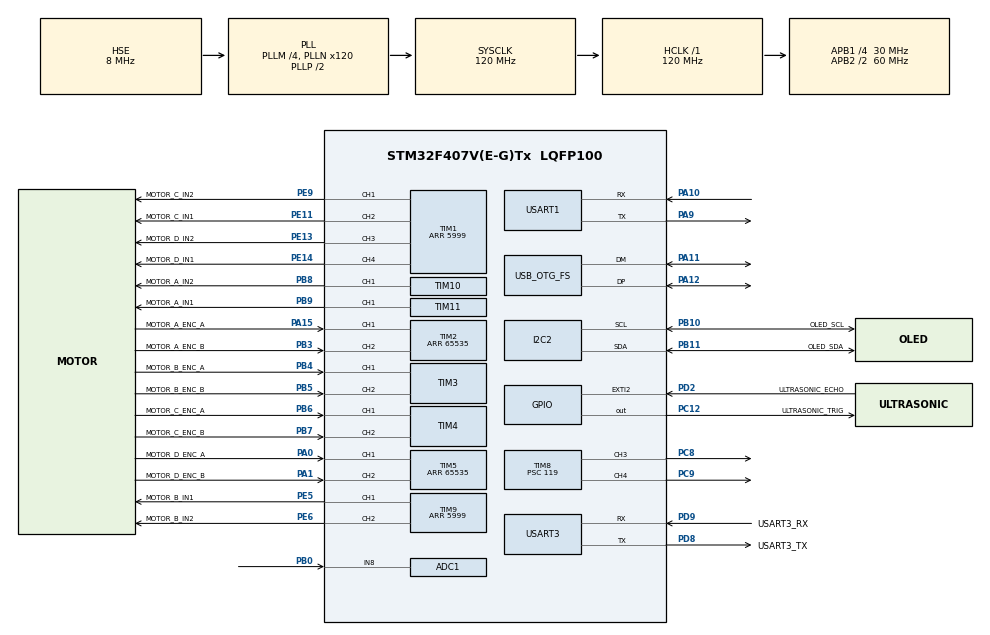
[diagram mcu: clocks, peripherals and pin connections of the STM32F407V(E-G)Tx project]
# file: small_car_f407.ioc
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ADC1.Channel-0\#ChannelRegularConversion=ADC_CHANNEL_8
ADC1.NbrOfConversionFlag=1
ADC1.Rank-0\#ChannelRegularConversion=1
ADC1.SamplingTime-0\#ChannelRegularConversion=ADC_SAMPLETIME_480CYCLES
ADC1.master=1
FREERTOS.Tasks01=defaultTask,24,256,StartDefaultTask,Default,NULL,Dynamic,NULL,NULL
Mcu.Family=STM32F4
Mcu.Name=STM32F407V(E-G)Tx
Mcu.Package=LQFP100
NVIC.EXTI2_IRQn=true\:5\:0\:false\:false\:true\:true\:true\:true\:true
NVIC.OTG_FS_IRQn=true\:5\:0\:false\:false\:true\:true\:false\:true\:true
NVIC.PriorityGroup=NVIC_PRIORITYGROUP_4
NVIC.TIM6_DAC_IRQn=true\:15\:0\:false\:false\:true\:false\:false\:true\:true
NVIC.TimeBase=TIM6_DAC_IRQn
NVIC.TimeBaseIP=TIM6
NVIC.USART3_IRQn=true\:5\:0\:false\:false\:true\:true\:true\:true\:true
PA0-WKUP.GPIO_Label=MOTOR_D_ENC_A
PA0-WKUP.Signal=S_TIM5_CH1
PA1.GPIO_Label=MOTOR_D_ENC_B
PA1.Signal=S_TIM5_CH2
PA10.Mode=Asynchronous
PA10.Signal=USART1_RX
PA11.Mode=Host_Only
PA11.Signal=USB_OTG_FS_DM
PA12.Mode=Host_Only
PA12.Signal=USB_OTG_FS_DP
PA13.Mode=Serial_Wire
PA13.Signal=SYS_JTMS-SWDIO
PA14.Mode=Serial_Wire
PA14.Signal=SYS_JTCK-SWCLK
PA15.GPIO_Label=MOTOR_A_ENC_A
PA15.Signal=S_TIM2_CH1_ETR
PA9.Mode=Asynchronous
PA9.Signal=USART1_TX
PB0.Signal=ADCx_IN8
PB10.GPIO_Label=OLED_SCL
PB10.Mode=I2C
PB10.Signal=I2C2_SCL
PB11.GPIO_Label=OLED_SDA
PB11.Mode=I2C
PB11.Signal=I2C2_SDA
PB3.GPIO_Label=MOTOR_A_ENC_B
PB3.Signal=S_TIM2_CH2
PB4.GPIO_Label=MOTOR_B_ENC_A
PB4.Signal=S_TIM3_CH1
PB5.GPIO_Label=MOTOR_B_ENC_B
PB5.Signal=S_TIM3_CH2
PB6.GPIO_Label=MOTOR_C_ENC_A
PB6.Signal=S_TIM4_CH1
PB7.GPIO_Label=MOTOR_C_ENC_B
PB7.Signal=S_TIM4_CH2
PB8.GPIO_Label=MOTOR_A_IN2
PB8.GPIO_PuPd=GPIO_NOPULL
PB8.Signal=S_TIM10_CH1
PB9.GPIO_Label=MOTOR_A_IN1
PB9.Signal=S_TIM11_CH1
PC12.GPIO_Label=ULTRASONIC_TRIG
PC12.Signal=GPIO_Output
PC8.Signal=S_TIM8_CH3
PC9.Signal=S_TIM8_CH4
PD2.GPIO_Label=ULTRASONIC_ECHO
PD2.GPIO_ModeDefaultEXTI=GPIO_MODE_IT_RISING_FALLING
PD2.Signal=GPXTI2
PD8.GPIO_Label=USART3_TX
PD8.Mode=Asynchronous
PD8.Signal=USART3_TX
PD9.GPIO_Label=USART3_RX
PD9.Mode=Asynchronous
PD9.Signal=USART3_RX
PE11.GPIO_Label=MOTOR_C_IN1
PE11.Signal=S_TIM1_CH2
PE13.GPIO_Label=MOTOR_D_IN2
PE13.Signal=S_TIM1_CH3
PE14.GPIO_Label=MOTOR_D_IN1
PE14.Signal=S_TIM1_CH4
PE5.GPIO_Label=MOTOR_B_IN1
PE5.Signal=S_TIM9_CH1
PE6.GPIO_Label=MOTOR_B_IN2
PE6.Signal=S_TIM9_CH2
PE9.GPIO_Label=MOTOR_C_IN2
PE9.Signal=S_TIM1_CH1
PH0-OSC_IN.Mode=HSE-External-Oscillator
PH0-OSC_IN.Signal=RCC_OSC_IN
PH1-OSC_OUT.Mode=HSE-External-Oscillator
PH1-OSC_OUT.Signal=RCC_OSC_OUT
ProjectManager.HeapSize=0x200
ProjectManager.StackSize=0x400
ProjectManager.TargetToolchain=CMake
RCC.48MHZClocksFreq_Value=48000000
RCC.AHBFreq_Value=120000000
RCC.APB1CLKDivider=RCC_HCLK_DIV4
RCC.APB1Freq_Value=30000000
RCC.APB1TimFreq_Value=60000000
RCC.APB2CLKDivider=RCC_HCLK_DIV2
RCC.APB2Freq_Value=60000000
RCC.APB2TimFreq_Value=120000000
RCC.CortexFreq_Value=120000000
RCC.HCLKFreq_Value=120000000
RCC.HSE_VALUE=8000000
RCC.HSI_VALUE=16000000
RCC.LSE_VALUE=32768
RCC.PLLM=4
RCC.PLLN=120
RCC.PLLQ=5
RCC.SYSCLKFreq_VALUE=120000000
RCC.SYSCLKSource=RCC_SYSCLKSOURCE_PLLCLK
RCC.VCOOutputFreq_Value=240000000
SH.ADCx_IN8.0=ADC1_IN8,IN8
SH.S_TIM10_CH1.0=TIM10_CH1,PWM Generation1 CH1
SH.S_TIM11_CH1.0=TIM11_CH1,PWM Generation1 CH1
SH.S_TIM1_CH1.0=TIM1_CH1,PWM Generation1 CH1
SH.S_TIM1_CH2.0=TIM1_CH2,PWM Generation2 CH2
SH.S_TIM1_CH3.0=TIM1_CH3,PWM Generation3 CH3
SH.S_TIM1_CH4.0=TIM1_CH4,PWM Generation4 CH4
SH.S_TIM2_CH1_ETR.0=TIM2_CH1,Encoder_Interface
SH.S_TIM2_CH2.0=TIM2_CH2,Encoder_Interface
SH.S_TIM3_CH1.0=TIM3_CH1,Encoder_Interface
SH.S_TIM3_CH2.0=TIM3_CH2,Encoder_Interface
SH.S_TIM4_CH1.0=TIM4_CH1,Encoder_Interface
SH.S_TIM4_CH2.0=TIM4_CH2,Encoder_Interface
SH.S_TIM5_CH1.0=TIM5_CH1,Encoder_Interface
SH.S_TIM5_CH2.0=TIM5_CH2,Encoder_Interface
SH.S_TIM8_CH3.0=TIM8_CH3,PWM Generation3 CH3
SH.S_TIM8_CH4.0=TIM8_CH4,PWM Generation4 CH4
SH.S_TIM9_CH1.0=TIM9_CH1,PWM Generation1 CH1
SH.S_TIM9_CH2.0=TIM9_CH2,PWM Generation2 CH2
TIM1.Channel-PWM\ Generation1\ CH1=TIM_CHANNEL_1
TIM1.Channel-PWM\ Generation2\ CH2=TIM_CHANNEL_2
TIM1.Channel-PWM\ Generation3\ CH3=TIM_CHANNEL_3
TIM1.Channel-PWM\ Generation4\ CH4=TIM_CHANNEL_4
TIM1.Period=5999
TIM10.Channel=TIM_CHANNEL_1
TIM10.Period=5999
TIM11.Channel=TIM_CHANNEL_1
TIM11.Period=5999
TIM2.EncoderMode=TIM_ENCODERMODE_TI12
TIM2.IC1Filter=4
TIM2.IC2Filter=4
TIM2.Period=65535
TIM3.EncoderMode=TIM_ENCODERMODE_TI12
TIM3.IC1Filter=4
TIM3.IC2Filter=4
TIM4.EncoderMode=TIM_ENCODERMODE_TI12
TIM4.IC1Filter=4
TIM4.IC2Filter=4
TIM5.EncoderMode=TIM_ENCODERMODE_TI12
TIM5.IC1Filter=4
TIM5.IC2Filter=4
TIM5.Period=65535
TIM8.Channel-PWM\ Generation3\ CH3=TIM_CHANNEL_3
TIM8.Channel-PWM\ Generation4\ CH4=TIM_CHANNEL_4
TIM8.Period=19999
TIM8.Prescaler=119
TIM8.Pulse-PWM\ Generation3\ CH3=1500
TIM8.Pulse-PWM\ Generation4\ CH4=1500
TIM9.Channel-PWM\ Generation1\ CH1=TIM_CHANNEL_1
TIM9.Channel-PWM\ Generation2\ CH2=TIM_CHANNEL_2
TIM9.Period=5999
USART1.VirtualMode=VM_ASYNC
USART3.VirtualMode=VM_ASYNC
USB_HOST.SW_VBUS_DRIVE_HID_FS=true
USB_HOST.USBH_HandleTypeDef-HID_FS=hUsbHostFS
USB_HOST.USBH_MAX_DATA_BUFFER-HID_FS=1024
USB_HOST.USBH_MAX_NUM_SUPPORTED_CLASS-HID_FS=4
USB_HOST.USBH_PROCESS_STACK_SIZE-HID_FS=1024
USB_HOST.VirtualModeFS=Hid
USB_OTG_FS.VirtualMode=Host_Only
USB_OTG_FS.phy_itface=HCD_PHY_EMBEDDED
VP_FREERTOS_VS_CMSIS_V2.Mode=CMSIS_V2
VP_SYS_VS_tim6.Mode=TIM6
VP_TIM10_VS_ClockSourceINT.Mode=Enable_Timer
VP_TIM11_VS_ClockSourceINT.Mode=Enable_Timer
VP_TIM1_VS_ClockSourceINT.Mode=Internal
VP_TIM8_VS_ClockSourceINT.Mode=Internal
VP_TIM9_VS_ClockSourceINT.Mode=Internal
VP_USB_HOST_VS_USB_HOST_HID_FS.Mode=HID_FS
board=custom

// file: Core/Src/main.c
/* USER CODE BEGIN Header */
/**
  ******************************************************************************
  * @file           : main.c
  * @brief          : Main program body
  ******************************************************************************
  * @attention
  *
  * Copyright (c) 2026 STMicroelectronics.
  * All rights reserved.
  *
  * This software is licensed under terms that can be found in the LICENSE file
  * in the root directory of this software component.
  * If no LICENSE file comes with this software, it is provided AS-IS.
  *
  ******************************************************************************
  */
/* USER CODE END Header */
#include "main.h"
#include "cmsis_os.h"
#include "adc.h"
#include "i2c.h"
#include "tim.h"
#include "usart.h"
#include "usb_host.h"
#include "gpio.h"

/* USER CODE BEGIN Includes */
#include "battery_monitor.h"
#include "chassis.h"
#include "chassis_params.h"
#include "control_mux.h"
#include "debug_uart.h"
#include "encoder.h"
#include "gamepad.h"
#include "gamepad_servo.h"
#include "host_link.h"
#include "icm20948.h"
#include "motor.h"
#include "oled.h"
#include "raspi_link.h"
#include "servo.h"
#include "ultrasonic.h"

/* USER CODE END Includes */

void SystemClock_Config(void);
void MX_FREERTOS_Init(void);

int main(void)
{

  /* MCU Configuration--------------------------------------------------------*/

  /* Reset of all peripherals, Initializes the Flash interface and the Systick. */
  HAL_Init();

  /* Configure the system clock */
  SystemClock_Config();

  /* Initialize all configured peripherals */
  MX_GPIO_Init();
  MX_TIM8_Init();
  MX_I2C2_Init();
  MX_USART1_UART_Init();
  MX_TIM1_Init();
  MX_TIM9_Init();
  MX_TIM10_Init();
  MX_TIM11_Init();
  MX_TIM2_Init();
  MX_TIM3_Init();
  MX_TIM4_Init();
  MX_TIM5_Init();
  MX_USART3_UART_Init();
  MX_ADC1_Init();
  /* USER CODE BEGIN 2 */
  /*
   * 业务模块初始化顺序：
   * 1. 先初始化调试串口，后续模块可以输出错误和状态。
   * 2. 再初始化传感器和执行机构。
   * 3. 最后初始化输入、命令和控制仲裁模块。
  */
  ChassisParams_Init();
  DebugUart_Init();
  DebugUart_WriteStringIf(DEBUG_LOG_BOOT, "\r\n[BOOT] Debug UART1 ready, 115200 8N1\r\n");
  BatteryMonitor_Init();
  Oled_Init();
  /* IMU 初始化状态会打印出来，status=0 表示初始化成功。 */
  Icm20948Status imu_status = Icm20948_Init();
  DebugUart_PrintfIf(DEBUG_LOG_BOOT, "[BOOT] ICM20948 init status=%d\r\n", imu_status);
  Motor_Init();
  Encoder_Init();
  Chassis_Init();
  Servo_Init();
  Ultrasonic_Init();
  /* 手柄和串口命令都只是控制入口，真正的底盘输出由 control_mux 仲裁。 */
  Gamepad_Init();
  GamepadServo_Init();
  HostLink_Init();
  RaspiLink_Init();
  ControlMux_Init();

  /* USER CODE END 2 */

  /* Init scheduler */
  osKernelInitialize();  /* Call init function for freertos objects (in cmsis_os2.c) */
  MX_FREERTOS_Init();

  /* Start scheduler */
  osKernelStart();

  /* We should never get here as control is now taken by the scheduler */

  /* Infinite loop */
  while (1)
  {

  }
}

void SystemClock_Config(void)
{
  RCC_OscInitTypeDef RCC_OscInitStruct = {0};
  RCC_ClkInitTypeDef RCC_ClkInitStruct = {0};

  /** Configure the main internal regulator output voltage
  */
  __HAL_RCC_PWR_CLK_ENABLE();
  __HAL_PWR_VOLTAGESCALING_CONFIG(PWR_REGULATOR_VOLTAGE_SCALE1);

  /** Initializes the RCC Oscillators according to the specified parameters
  * in the RCC_OscInitTypeDef structure.
  */
  RCC_OscInitStruct.OscillatorType = RCC_OSCILLATORTYPE_HSE;
  RCC_OscInitStruct.HSEState = RCC_HSE_ON;
  RCC_OscInitStruct.PLL.PLLState = RCC_PLL_ON;
  RCC_OscInitStruct.PLL.PLLSource = RCC_PLLSOURCE_HSE;
  RCC_OscInitStruct.PLL.PLLM = 4;
  RCC_OscInitStruct.PLL.PLLN = 120;
  RCC_OscInitStruct.PLL.PLLP = RCC_PLLP_DIV2;
  RCC_OscInitStruct.PLL.PLLQ = 5;
  if (HAL_RCC_OscConfig(&RCC_OscInitStruct) != HAL_OK)
  {
    Error_Handler();
  }

  /** Initializes the CPU, AHB and APB buses clocks
  */
  RCC_ClkInitStruct.ClockType = RCC_CLOCKTYPE_HCLK|RCC_CLOCKTYPE_SYSCLK
                              |RCC_CLOCKTYPE_PCLK1|RCC_CLOCKTYPE_PCLK2;
  RCC_ClkInitStruct.SYSCLKSource = RCC_SYSCLKSOURCE_PLLCLK;
  RCC_ClkInitStruct.AHBCLKDivider = RCC_SYSCLK_DIV1;
  RCC_ClkInitStruct.APB1CLKDivider = RCC_HCLK_DIV4;
  RCC_ClkInitStruct.APB2CLKDivider = RCC_HCLK_DIV2;

  if (HAL_RCC_ClockConfig(&RCC_ClkInitStruct, FLASH_LATENCY_3) != HAL_OK)
  {
    Error_Handler();
  }
}

void HAL_TIM_PeriodElapsedCallback(TIM_HandleTypeDef *htim)
{
  if (htim->Instance == TIM6)
  {
    HAL_IncTick();
  }
}

void Error_Handler(void)
{
  __disable_irq();
  while (1)
  {
  }
}

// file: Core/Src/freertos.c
/* USER CODE BEGIN Header */
/**
  ******************************************************************************
  * File Name          : freertos.c
  * Description        : Code for freertos applications
  ******************************************************************************
  * @attention
  *
  * Copyright (c) 2026 STMicroelectronics.
  * All rights reserved.
  *
  * This software is licensed under terms that can be found in the LICENSE file
  * in the root directory of this software component.
  * If no LICENSE file comes with this software, it is provided AS-IS.
  *
  ******************************************************************************
  */
/* USER CODE END Header */

#include "FreeRTOS.h"
#include "task.h"
#include "main.h"
#include "cmsis_os.h"

/* USER CODE BEGIN Includes */
#include "battery_monitor.h"
#include "chassis.h"
#include "control_mux.h"
#include "debug_uart.h"
#include "encoder.h"
#include "gamepad.h"
#include "gamepad_servo.h"
#include "host_link.h"
#include "oled.h"
#include "raspi_link.h"
#include "servo.h"
#include "system_status.h"
#include "ultrasonic.h"

/* USER CODE END Includes */

/* Definitions for defaultTask */
osThreadId_t defaultTaskHandle;
const osThreadAttr_t defaultTask_attributes = {
  .name = "defaultTask",
  .stack_size = 256 * 4,
  .priority = (osPriority_t) osPriorityNormal,
};

void StartDefaultTask(void *argument);

extern void MX_USB_HOST_Init(void);
void MX_FREERTOS_Init(void); /* (MISRA C 2004 rule 8.1) */

void MX_FREERTOS_Init(void) {

  /* Create the thread(s) */
  /* creation of defaultTask */
  defaultTaskHandle = osThreadNew(StartDefaultTask, NULL, &defaultTask_attributes);

  /* USER CODE BEGIN RTOS_THREADS */
  if (defaultTaskHandle == NULL)
  {
    /* 浠诲姟鍒涘缓澶辫触閫氬父鏄爢鎴栨爤閰嶇疆闂銆?*/
    DebugUart_WriteStringIf(DEBUG_LOG_RTOS, "[RTOS] defaultTask create failed\r\n");
  }
  else
  {
    DebugUart_WriteStringIf(DEBUG_LOG_RTOS, "[RTOS] defaultTask created\r\n");
  }
  /* add threads, ... */
  /* USER CODE END RTOS_THREADS */

}

void StartDefaultTask(void *argument)
{
  /* init code for USB_HOST */
  MX_USB_HOST_Init();
  /* USER CODE BEGIN StartDefaultTask */
  /* FreeRTOS 鍚姩鍚庢樉绀?OLED 鍚姩鐢婚潰锛岀‘璁や换鍔″凡缁忓紑濮嬭繍琛屻€?*/
  Oled_ShowBootScreen();
  DebugUart_WriteStringIf(DEBUG_LOG_RTOS, "[RTOS] Default task started\r\n");
  osDelay(1000);

  ControlSource last_source = CONTROL_SOURCE_NONE;
  SystemStatus_Init();

  /* Infinite loop */
  for(;;)
  {
    /*
     * 褰撳墠璋冭瘯闃舵浣跨敤涓€涓簲鐢ㄤ换鍔￠『搴忚皟搴﹀悇妯″潡锛?
     * 姣忎釜 TaskStep 閮藉簲灏介噺鐭皬銆侀潪闃诲锛岄伩鍏嶅奖鍝?100ms 涓诲惊鐜妭濂忋€?
     */
    Gamepad_TaskStep();
    GamepadServo_TaskStep();
    HostLink_TaskStep();
    RaspiLink_TaskStep();
    Ultrasonic_TaskStep();
    Encoder_TaskStep();
    BatteryMonitor_TaskStep();

    ControlCommand command;
    /* 鎺у埗浠茶鍐冲畾搴曠洏鏈€缁堝惉璋佺殑鍛戒护銆?*/
    (void)ControlMux_SelectCommand(&command);
    /* 搴曠洏灞傚彧鍏冲績鏈€缁堝懡浠わ紝涓嶉渶瑕佺煡閬撳懡浠ゆ潵鑷墜鏌勮繕鏄笂浣嶆満銆?*/
    Chassis_ApplyCommand(&command);
    /* ROS 物理速度命令执行编码器闭环；手柄仍沿用原有开环路径。 */
    Chassis_TaskStep(20U);
    SystemStatus_TaskStep(&command);
    if (command.source != last_source)
    {
      /* 鎺у埗婧愬彉鍖栨椂鎵撳嵃涓€娆★紝渚夸簬鍒ゆ柇鏄惁琚畨鍏ㄤ繚鎶ゆ垨鎵嬫焺鎺ョ銆?*/
      DebugUart_PrintfIf(DEBUG_LOG_CONTROL,
                         "[CTRL] source=%d enabled=%d\r\n",
                         command.source,
                         command.enabled ? 1 : 0);
      last_source = command.source;
    }

    /* 涓诲惊鐜懆鏈熴€傚悗缁仛闂幆鎺у埗鏃讹紝鍙互鏍规嵁闇€瑕佺缉鐭懆鏈熸垨鎷嗗垎浠诲姟銆?*/
    osDelay(20);
  }
  /* USER CODE END StartDefaultTask */
}
